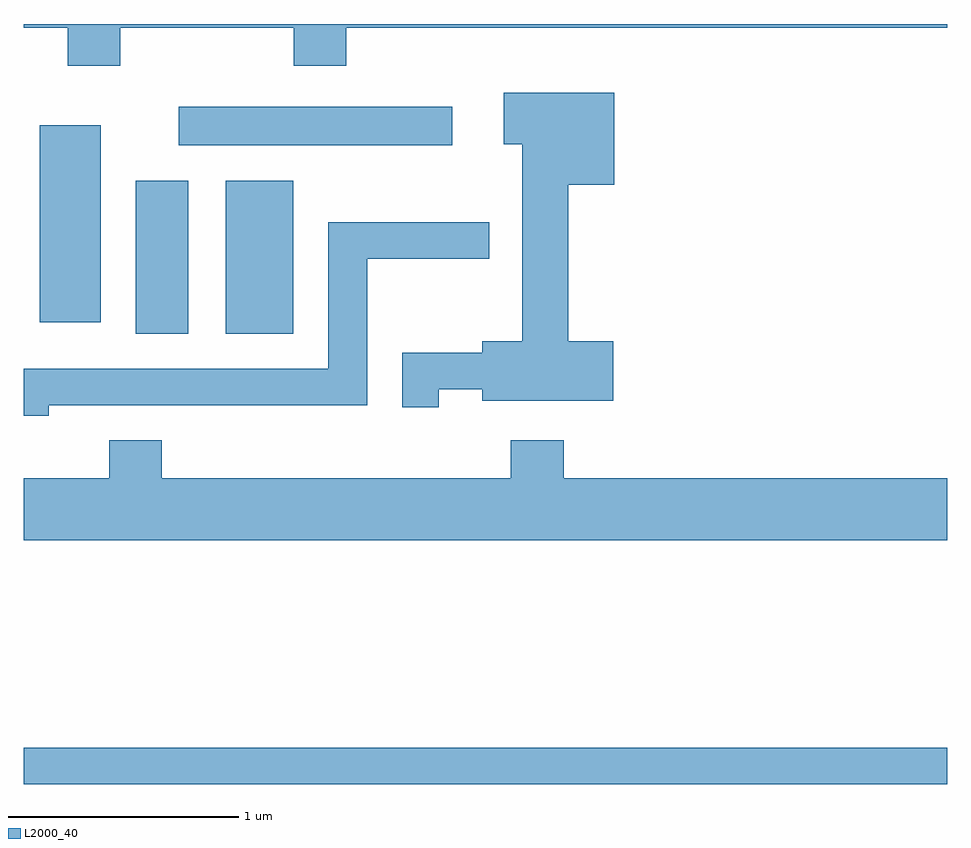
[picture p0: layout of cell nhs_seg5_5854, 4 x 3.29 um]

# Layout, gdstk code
import gdstk
lib = gdstk.Library(unit=1e-6, precision=1e-09)
def R(c, l, rs):  # rectangles x0, y0, x1, y1
    for r in rs: c.add(gdstk.rectangle(r[:2], r[2:], *l))
def P(c, l, *ps):  # polygons
    for p in ps: c.add(gdstk.Polygon(p, *l))
L2000_40 = (2000, 40)

nhs_seg5_5854 = lib.new_cell('nhs_seg5_5854')
R(nhs_seg5_5854, L2000_40, [(357.611,1526.781,361.611,1526.939), (358.096,1528.731,358.324,1529.394), (358.486,1528.731,358.779,1529.394), (357.681,1528.781,357.944,1529.634), (358.283,1529.546,359.468,1529.714)])
P(nhs_seg5_5854, L2000_40, [(358.029,1530.056),(358.781,1530.056),(358.781,1529.891),(359.009,1529.891),(359.009,1530.056),(361.611,1530.056),(361.611,1530.072),(357.611,1530.072),(357.611,1530.056),(357.801,1530.056),(357.801,1529.891),(358.029,1529.891)],
  [(359.409,1528.491),(359.596,1528.491),(359.596,1528.441),(360.164,1528.441),(360.164,1528.699),(359.969,1528.699),(359.969,1529.376),(360.169,1529.376),(360.169,1529.774),(359.691,1529.774),(359.691,1529.551),(359.771,1529.551),(359.771,1528.699),(359.596,1528.699),(359.596,1528.649),(359.251,1528.649),(359.251,1528.413),(359.409,1528.413)],
  [(357.719,1528.421),(359.099,1528.421),(359.099,1529.056),(359.628,1529.056),(359.628,1529.214),(358.931,1529.214),(358.931,1528.579),(357.611,1528.579),(357.611,1528.376),(357.719,1528.376)],
  [(361.611,1528.104),(359.949,1528.104),(359.949,1528.269),(359.721,1528.269),(359.721,1528.104),(358.209,1528.104),(358.209,1528.269),(357.981,1528.269),(357.981,1528.104),(357.611,1528.104),(357.611,1527.836),(361.611,1527.836)])

lib.write_gds('nhs_seg5_5854.gds')
